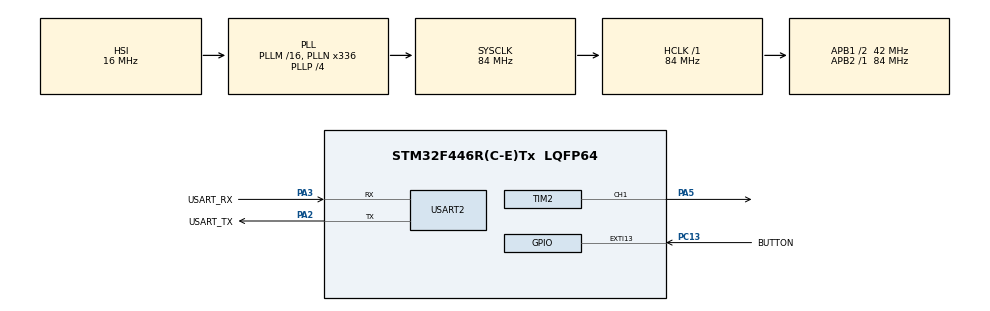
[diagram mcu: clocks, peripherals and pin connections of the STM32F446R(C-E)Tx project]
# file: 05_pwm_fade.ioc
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Mcu.Family=STM32F4
Mcu.Name=STM32F446R(C-E)Tx
Mcu.Package=LQFP64
NUCLEO-F446RE.BUTTON=0
NVIC.EXTI15_10_IRQn=true\:0\:0\:false\:false\:true\:true\:true\:true
NVIC.PriorityGroup=NVIC_PRIORITYGROUP_0
NVIC.TIM6_DAC_IRQn=true\:0\:0\:false\:false\:true\:true\:true\:true
PA13.GPIO_Label=TMS
PA13.Mode=Serial_Wire
PA13.Signal=SYS_JTMS-SWDIO
PA14.GPIO_Label=TCK
PA14.Mode=Serial_Wire
PA14.Signal=SYS_JTCK-SWCLK
PA2.GPIO_Label=USART_TX
PA2.GPIO_Speed=GPIO_SPEED_FREQ_VERY_HIGH
PA2.Mode=Asynchronous
PA2.Signal=USART2_TX
PA3.GPIO_Label=USART_RX
PA3.Mode=Asynchronous
PA3.Signal=USART2_RX
PA5.Signal=S_TIM2_CH1_ETR
PB3.GPIO_Label=SWO
PB3.Signal=SYS_JTDO-SWO
PC13.GPIO_Label=BUTTON
PC13.Signal=GPXTI13
PC14-OSC32_IN.Signal=RCC_OSC32_IN
PC15-OSC32_OUT.Signal=RCC_OSC32_OUT
PH0-OSC_IN.Signal=RCC_OSC_IN
PH1-OSC_OUT.Signal=RCC_OSC_OUT
ProjectManager.HeapSize=0x200
ProjectManager.StackSize=0x400
ProjectManager.TargetToolchain=STM32CubeIDE
RCC.AHBFreq_Value=84000000
RCC.APB1CLKDivider=RCC_HCLK_DIV2
RCC.APB1Freq_Value=42000000
RCC.APB1TimFreq_Value=84000000
RCC.APB2Freq_Value=84000000
RCC.APB2TimFreq_Value=84000000
RCC.CortexFreq_Value=84000000
RCC.FLatency-AdvancedSettings=FLASH_LATENCY_2
RCC.HCLKFreq_Value=84000000
RCC.HSE_VALUE=8000000
RCC.HSI_VALUE=16000000
RCC.LSE_VALUE=32768
RCC.PLLN=336
RCC.PLLP=RCC_PLLP_DIV4
RCC.SYSCLKFreq_VALUE=84000000
RCC.SYSCLKSource=RCC_SYSCLKSOURCE_PLLCLK
RCC.USBFreq_Value=168000000
RCC.VCOOutputFreq_Value=336000000
SH.S_TIM2_CH1_ETR.0=TIM2_CH1,PWM Generation1 CH1
TIM2.AutoReloadPreload=TIM_AUTORELOAD_PRELOAD_ENABLE
TIM2.Channel-PWM\ Generation1\ CH1=TIM_CHANNEL_1
TIM2.Period=999
TIM2.Prescaler=83
TIM6.AutoReloadPreload=TIM_AUTORELOAD_PRELOAD_ENABLE
TIM6.Period=4999
TIM6.Prescaler=8399
USART2.VirtualMode=VM_ASYNC
VP_NUCLEO-F446RE_VS_BSP_COMMON.Mode=COMMON
VP_TIM2_VS_ClockSourceINT.Mode=Internal
VP_TIM6_VS_ClockSourceINT.Mode=Enable_Timer
board=NUCLEO-F446RE

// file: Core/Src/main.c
/* USER CODE BEGIN Header */
/**
  ******************************************************************************
  * @file           : main.c
  * @brief          : Main program body
  ******************************************************************************
  * @attention
  *
  * Copyright (c) 2026 STMicroelectronics.
  * All rights reserved.
  *
  * This software is licensed under terms that can be found in the LICENSE file
  * in the root directory of this software component.
  * If no LICENSE file comes with this software, it is provided AS-IS.
  *
  ******************************************************************************
  */
/* USER CODE END Header */
#include "main.h"

/* USER CODE BEGIN Includes */
#include <stdio.h>
/* USER CODE END Includes */

TIM_HandleTypeDef htim2;
TIM_HandleTypeDef htim6;

UART_HandleTypeDef huart2;

/* USER CODE BEGIN PV */
volatile uint8_t buttonPressed = 0;
uint32_t pressCount = 0;
uint16_t brightness[5] = {0, 50, 150, 400, 999};
uint8_t  level = 0;
/* USER CODE END PV */

void SystemClock_Config(void);
static void MX_GPIO_Init(void);
static void MX_USART2_UART_Init(void);
static void MX_TIM6_Init(void);
static void MX_TIM2_Init(void);

/* USER CODE BEGIN 0 */
/* USER CODE BEGIN 0 */
int __io_putchar(int ch)
{
    HAL_UART_Transmit(&huart2, (uint8_t *)&ch, 1, HAL_MAX_DELAY);
    return ch;
}

void HAL_GPIO_EXTI_Callback(uint16_t GPIO_Pin)
{
    static uint32_t lastPressTime = 0;
    uint32_t now = HAL_GetTick();

    if (GPIO_Pin == BUTTON_Pin && (now - lastPressTime) > 200)
    {
        buttonPressed = 1;
        lastPressTime = now;
    }
}
void HAL_TIM_PeriodElapsedCallback(TIM_HandleTypeDef *htim)
{
    if (htim->Instance == TIM6)
    {
       // HAL_GPIO_TogglePin(LED_GREEN_GPIO_Port, LED_GREEN_Pin);
    }
}
/* USER CODE END 0 */

int main(void)
{

  /* MCU Configuration--------------------------------------------------------*/

  /* Reset of all peripherals, Initializes the Flash interface and the Systick. */
  HAL_Init();

  /* Configure the system clock */
  SystemClock_Config();

  /* Initialize all configured peripherals */
  MX_GPIO_Init();
  MX_USART2_UART_Init();
  MX_TIM6_Init();
  MX_TIM2_Init();
  /* USER CODE BEGIN 2 */
  setvbuf(stdout, NULL, _IONBF, 0);
printf("ready press the blue button in the board \r\n");
HAL_TIM_PWM_Start(&htim2, TIM_CHANNEL_1);
//HAL_TIM_Base_Start_IT(&htim6);
  /* USER CODE END 2 */

  /* Infinite loop */
  while (1)
  {

    /* USER CODE BEGIN 3 */
	  if (buttonPressed)
	  {
	      buttonPressed = 0;
	      level = (level + 1) % 5;
	      __HAL_TIM_SET_COMPARE(&htim2, TIM_CHANNEL_1, brightness[level]);
	      printf("Level %u: CCR = %u (%u%%)\r\n", level, brightness[level], brightness[level] / 10);
	  }
  }
	/*  if (buttonPressed)
	  {
	      buttonPressed = 0;
	      HAL_GPIO_TogglePin(LED_GREEN_GPIO_Port, LED_GREEN_Pin);
	      pressCount++;
	      printf("[%lu ms] Press %lu\r\n", HAL_GetTick(), pressCount);
	  }
  }*/
  /* USER CODE END 3 */
}

void SystemClock_Config(void)
{
  RCC_OscInitTypeDef RCC_OscInitStruct = {0};
  RCC_ClkInitTypeDef RCC_ClkInitStruct = {0};

  /** Configure the main internal regulator output voltage
  */
  __HAL_RCC_PWR_CLK_ENABLE();
  __HAL_PWR_VOLTAGESCALING_CONFIG(PWR_REGULATOR_VOLTAGE_SCALE3);

  /** Initializes the RCC Oscillators according to the specified parameters
  * in the RCC_OscInitTypeDef structure.
  */
  RCC_OscInitStruct.OscillatorType = RCC_OSCILLATORTYPE_HSI;
  RCC_OscInitStruct.HSIState = RCC_HSI_ON;
  RCC_OscInitStruct.HSICalibrationValue = RCC_HSICALIBRATION_DEFAULT;
  RCC_OscInitStruct.PLL.PLLState = RCC_PLL_ON;
  RCC_OscInitStruct.PLL.PLLSource = RCC_PLLSOURCE_HSI;
  RCC_OscInitStruct.PLL.PLLM = 16;
  RCC_OscInitStruct.PLL.PLLN = 336;
  RCC_OscInitStruct.PLL.PLLP = RCC_PLLP_DIV4;
  RCC_OscInitStruct.PLL.PLLQ = 2;
  RCC_OscInitStruct.PLL.PLLR = 2;
  if (HAL_RCC_OscConfig(&RCC_OscInitStruct) != HAL_OK)
  {
    Error_Handler();
  }

  /** Initializes the CPU, AHB and APB buses clocks
  */
  RCC_ClkInitStruct.ClockType = RCC_CLOCKTYPE_HCLK|RCC_CLOCKTYPE_SYSCLK
                              |RCC_CLOCKTYPE_PCLK1|RCC_CLOCKTYPE_PCLK2;
  RCC_ClkInitStruct.SYSCLKSource = RCC_SYSCLKSOURCE_PLLCLK;
  RCC_ClkInitStruct.AHBCLKDivider = RCC_SYSCLK_DIV1;
  RCC_ClkInitStruct.APB1CLKDivider = RCC_HCLK_DIV2;
  RCC_ClkInitStruct.APB2CLKDivider = RCC_HCLK_DIV1;

  if (HAL_RCC_ClockConfig(&RCC_ClkInitStruct, FLASH_LATENCY_2) != HAL_OK)
  {
    Error_Handler();
  }
}

static void MX_TIM2_Init(void)
{

  TIM_ClockConfigTypeDef sClockSourceConfig = {0};
  TIM_MasterConfigTypeDef sMasterConfig = {0};
  TIM_OC_InitTypeDef sConfigOC = {0};

  htim2.Instance = TIM2;
  htim2.Init.Prescaler = 83;
  htim2.Init.CounterMode = TIM_COUNTERMODE_UP;
  htim2.Init.Period = 999;
  htim2.Init.ClockDivision = TIM_CLOCKDIVISION_DIV1;
  htim2.Init.AutoReloadPreload = TIM_AUTORELOAD_PRELOAD_ENABLE;
  if (HAL_TIM_Base_Init(&htim2) != HAL_OK)
  {
    Error_Handler();
  }
  sClockSourceConfig.ClockSource = TIM_CLOCKSOURCE_INTERNAL;
  if (HAL_TIM_ConfigClockSource(&htim2, &sClockSourceConfig) != HAL_OK)
  {
    Error_Handler();
  }
  if (HAL_TIM_PWM_Init(&htim2) != HAL_OK)
  {
    Error_Handler();
  }
  sMasterConfig.MasterOutputTrigger = TIM_TRGO_RESET;
  sMasterConfig.MasterSlaveMode = TIM_MASTERSLAVEMODE_DISABLE;
  if (HAL_TIMEx_MasterConfigSynchronization(&htim2, &sMasterConfig) != HAL_OK)
  {
    Error_Handler();
  }
  sConfigOC.OCMode = TIM_OCMODE_PWM1;
  sConfigOC.Pulse = 0;
  sConfigOC.OCPolarity = TIM_OCPOLARITY_HIGH;
  sConfigOC.OCFastMode = TIM_OCFAST_DISABLE;
  if (HAL_TIM_PWM_ConfigChannel(&htim2, &sConfigOC, TIM_CHANNEL_1) != HAL_OK)
  {
    Error_Handler();
  }
  HAL_TIM_MspPostInit(&htim2);

}

static void MX_TIM6_Init(void)
{

  TIM_MasterConfigTypeDef sMasterConfig = {0};

  htim6.Instance = TIM6;
  htim6.Init.Prescaler = 8399;
  htim6.Init.CounterMode = TIM_COUNTERMODE_UP;
  htim6.Init.Period = 4999;
  htim6.Init.AutoReloadPreload = TIM_AUTORELOAD_PRELOAD_ENABLE;
  if (HAL_TIM_Base_Init(&htim6) != HAL_OK)
  {
    Error_Handler();
  }
  sMasterConfig.MasterOutputTrigger = TIM_TRGO_RESET;
  sMasterConfig.MasterSlaveMode = TIM_MASTERSLAVEMODE_DISABLE;
  if (HAL_TIMEx_MasterConfigSynchronization(&htim6, &sMasterConfig) != HAL_OK)
  {
    Error_Handler();
  }

}

static void MX_USART2_UART_Init(void)
{

  huart2.Instance = USART2;
  huart2.Init.BaudRate = 115200;
  huart2.Init.WordLength = UART_WORDLENGTH_8B;
  huart2.Init.StopBits = UART_STOPBITS_1;
  huart2.Init.Parity = UART_PARITY_NONE;
  huart2.Init.Mode = UART_MODE_TX_RX;
  huart2.Init.HwFlowCtl = UART_HWCONTROL_NONE;
  huart2.Init.OverSampling = UART_OVERSAMPLING_16;
  if (HAL_UART_Init(&huart2) != HAL_OK)
  {
    Error_Handler();
  }

}

static void MX_GPIO_Init(void)
{
  GPIO_InitTypeDef GPIO_InitStruct = {0};

  /* GPIO Ports Clock Enable */
  __HAL_RCC_GPIOC_CLK_ENABLE();
  __HAL_RCC_GPIOH_CLK_ENABLE();
  __HAL_RCC_GPIOA_CLK_ENABLE();
  __HAL_RCC_GPIOB_CLK_ENABLE();

  /*Configure GPIO pin : BUTTON_Pin */
  GPIO_InitStruct.Pin = BUTTON_Pin;
  GPIO_InitStruct.Mode = GPIO_MODE_IT_RISING;
  GPIO_InitStruct.Pull = GPIO_NOPULL;
  HAL_GPIO_Init(BUTTON_GPIO_Port, &GPIO_InitStruct);

  /* EXTI interrupt init*/
  HAL_NVIC_SetPriority(EXTI15_10_IRQn, 0, 0);
  HAL_NVIC_EnableIRQ(EXTI15_10_IRQn);

}

void Error_Handler(void)
{
  __disable_irq();
  while (1)
  {
  }
}
